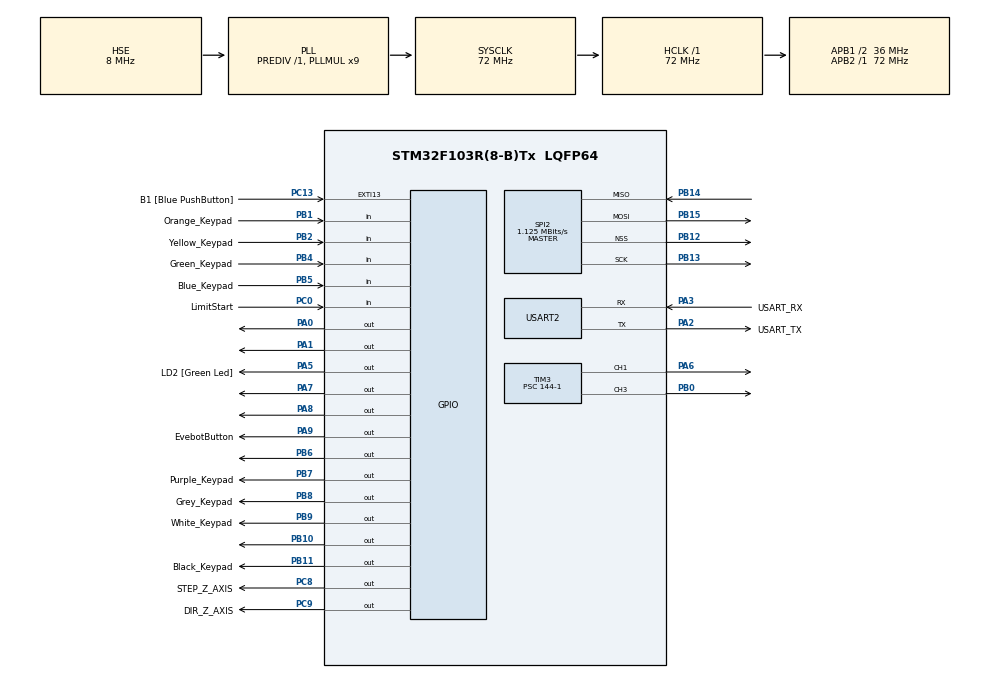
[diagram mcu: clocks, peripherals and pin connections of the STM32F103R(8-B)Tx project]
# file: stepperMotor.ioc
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Mcu.Family=STM32F1
Mcu.Name=STM32F103R(8-B)Tx
Mcu.Package=LQFP64
NVIC.EXTI15_10_IRQn=true\:0\:0\:false\:false\:true\:true\:true\:true
NVIC.PriorityGroup=NVIC_PRIORITYGROUP_4
NVIC.SPI2_IRQn=true\:0\:0\:false\:false\:true\:true\:true\:true
PA0-WKUP.Signal=GPIO_Output
PA1.Signal=GPIO_Output
PA13.GPIO_Label=TMS
PA13.Mode=Trace_Asynchronous_SW
PA13.Signal=SYS_JTMS-SWDIO
PA14.GPIO_Label=TCK
PA14.Mode=Trace_Asynchronous_SW
PA14.Signal=SYS_JTCK-SWCLK
PA2.GPIO_Label=USART_TX
PA2.GPIO_Mode=GPIO_MODE_AF_PP
PA2.GPIO_PuPd=GPIO_NOPULL
PA2.GPIO_Speed=GPIO_SPEED_FREQ_LOW
PA2.Mode=Asynchronous
PA2.Signal=USART2_TX
PA3.GPIO_Label=USART_RX
PA3.GPIO_Mode=GPIO_MODE_AF_PP
PA3.GPIO_PuPd=GPIO_NOPULL
PA3.GPIO_Speed=GPIO_SPEED_FREQ_LOW
PA3.Mode=Asynchronous
PA3.Signal=USART2_RX
PA5.GPIO_Label=LD2 [Green Led]
PA5.GPIO_ModeDefaultOutputPP=GPIO_MODE_OUTPUT_PP
PA5.GPIO_PuPd=GPIO_NOPULL
PA5.GPIO_Speed=GPIO_SPEED_FREQ_LOW
PA5.Signal=GPIO_Output
PA6.Signal=S_TIM3_CH1
PA7.Signal=GPIO_Output
PA8.Signal=GPIO_Output
PA9.GPIO_Label=EvebotButton
PA9.Signal=GPIO_Output
PB0.Signal=S_TIM3_CH3
PB1.GPIO_Label=Orange_Keypad
PB1.GPIO_PuPd=GPIO_PULLUP
PB1.Signal=GPIO_Input
PB10.Signal=GPIO_Output
PB11.GPIO_Label=Black_Keypad
PB11.Signal=GPIO_Output
PB12.Mode=NSS_Signal_Hard_Output
PB12.Signal=SPI2_NSS
PB13.Mode=Full_Duplex_Master
PB13.Signal=SPI2_SCK
PB14.Mode=Full_Duplex_Master
PB14.Signal=SPI2_MISO
PB15.Mode=Full_Duplex_Master
PB15.Signal=SPI2_MOSI
PB2.GPIO_Label=Yellow_Keypad
PB2.GPIO_PuPd=GPIO_PULLUP
PB2.Signal=GPIO_Input
PB3.GPIO_Label=SWO
PB3.Mode=Trace_Asynchronous_SW
PB3.Signal=SYS_JTDO-TRACESWO
PB4.GPIO_Label=Green_Keypad
PB4.GPIO_PuPd=GPIO_PULLUP
PB4.Signal=GPIO_Input
PB5.GPIO_Label=Blue_Keypad
PB5.GPIO_PuPd=GPIO_PULLUP
PB5.Signal=GPIO_Input
PB6.Signal=GPIO_Output
PB7.GPIO_Label=Purple_Keypad
PB7.Signal=GPIO_Output
PB8.GPIO_Label=Grey_Keypad
PB8.Signal=GPIO_Output
PB9.GPIO_Label=White_Keypad
PB9.Signal=GPIO_Output
PC0.GPIO_Label=LimitStart
PC0.Signal=GPIO_Input
PC13-TAMPER-RTC.GPIO_Label=B1 [Blue PushButton]
PC13-TAMPER-RTC.GPIO_PuPd=GPIO_NOPULL
PC13-TAMPER-RTC.Signal=GPXTI13
PC14-OSC32_IN.Signal=RCC_OSC32_IN
PC15-OSC32_OUT.Signal=RCC_OSC32_OUT
PC8.GPIO_Label=STEP_Z_AXIS
PC8.Signal=GPIO_Output
PC9.GPIO_Label=DIR_Z_AXIS
PC9.Signal=GPIO_Output
PD0-OSC_IN.Mode=HSE-External-Oscillator
PD0-OSC_IN.Signal=RCC_OSC_IN
PD1-OSC_OUT.Mode=HSE-External-Oscillator
PD1-OSC_OUT.Signal=RCC_OSC_OUT
ProjectManager.HeapSize=0x200
ProjectManager.StackSize=0x400
ProjectManager.TargetToolchain=STM32CubeIDE
RCC.AHBFreq_Value=72000000
RCC.APB1CLKDivider=RCC_HCLK_DIV2
RCC.APB1Freq_Value=36000000
RCC.APB1TimFreq_Value=72000000
RCC.APB2Freq_Value=72000000
RCC.APB2TimFreq_Value=72000000
RCC.HCLKFreq_Value=72000000
RCC.PLLMUL=RCC_PLL_MUL9
RCC.PLLSourceVirtual=RCC_PLLSOURCE_HSE
RCC.RTCClockSelection=RCC_RTCCLKSOURCE_LSE
RCC.SYSCLKFreq_VALUE=72000000
RCC.SYSCLKSource=RCC_SYSCLKSOURCE_PLLCLK
RCC.USBFreq_Value=72000000
SH.S_TIM3_CH1.0=TIM3_CH1,PWM Generation1 CH1
SH.S_TIM3_CH3.0=TIM3_CH3,PWM Generation3 CH3
SPI2.BaudRatePrescaler=SPI_BAUDRATEPRESCALER_32
SPI2.CLKPhase=SPI_PHASE_2EDGE
SPI2.CLKPolarity=SPI_POLARITY_HIGH
SPI2.CalculateBaudRate=1.125 MBits/s
SPI2.Direction=SPI_DIRECTION_2LINES
SPI2.Mode=SPI_MODE_MASTER
SPI2.VirtualNSS=VM_NSSHARD
SPI2.VirtualType=VM_MASTER
TIM1.Period=3599
TIM1.Prescaler=71
TIM3.Channel-PWM\ Generation1\ CH1=TIM_CHANNEL_1
TIM3.Channel-PWM\ Generation3\ CH3=TIM_CHANNEL_3
TIM3.OC1Preload_PWM=DISABLE
TIM3.Period=10000-1
TIM3.Prescaler=144-1
TIM3.Pulse-PWM\ Generation1\ CH1=900
USART2.VirtualMode=VM_ASYNC
VP_TIM1_VS_ClockSourceINT.Mode=Internal
VP_TIM3_VS_ClockSourceINT.Mode=Internal
board=NUCLEO-F103RB

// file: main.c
/* USER CODE BEGIN Header */
/**
  ******************************************************************************
  * @file           : main.c
  * @brief          : Main program body
  ******************************************************************************
  * @attention
  *
  * Copyright (c) 2024 STMicroelectronics.
  * All rights reserved.
  *
  * This software is licensed under terms that can be found in the LICENSE file
  * in the root directory of this software component.
  * If no LICENSE file comes with this software, it is provided AS-IS.
  *
  ******************************************************************************
  */
/* USER CODE END Header */
#include "main.h"

/* USER CODE BEGIN Includes */
#include <stdbool.h>
#include <stdio.h>
#include <stdlib.h>

//Keypad
#define BLINK_DELAY 500 // Delay in milliseconds
#define DEBOUNCE_DELAY 200 // Debounce delay in milliseconds

//printhead
#define PRINTHEAD_DIR_PIN GPIO_PIN_1
#define PRINTHEAD_DIR_PORT GPIOA
#define PRINTHEAD_STEP_PIN GPIO_PIN_0
#define PRINTHEAD_STEP_PORT GPIOA

// Pins for conveyor belt stepper motor, Direction pin PB10. Step pin PA8
#define STEP_PIN_CONVEYOR GPIO_PIN_8
#define STEP_PIN_Z_AXIS GPIO_PIN_2
#define DIR_PIN_Z_AXIS GPIO_PIN_12
#define DIR_PIN_CONVEYOR GPIO_PIN_10
#define STEP_PORT_CONVEYOR GPIOA
#define DIR_PORT_CONVEYOR GPIOB

#define TURN180 200
#define TURN360 400
#define TOTALDIST 34.5
#define INIDIST 10
#define OBJ1 1
#define OBJ2 2
/**
 * Lines
 */
//#define PRINT_LINE 135
//#define PRINT_LINE 130
//#define EVENT_HORIZON 133
#define PRINT_LINE 200
//#define EVENT_HORIZON 133
#define EVENT_HORIZON 170
#define ROW_LINE 80
#define EXCESS_LINE 30
#define PIXY_RATIO 1.5
#define DATUM 20
int PRINTSIZE = 43;
#define CONVEYER_MOVEMENT_MULTIPLER 0.74
#define RETRACT_PEN_UP 200
#define EXTEND_PEN_DOWN 336
/* USER CODE END Includes */

/* USER CODE BEGIN PTD */
typedef enum __pixyChecksumstate{
	PIXY_RESULT_OK = 1,
	PIXY_RESULT_ERROR = 0
}PixyChecksumState;

typedef struct __pastryData{
	//centrepoint of pastry coordinates
	uint16_t coordX; //8-9  response bits
	uint16_t coordY; //10-11 response bits
	//dimensions
	uint16_t height;
	uint16_t width;
	//bottom line
	uint16_t bottomY;
	//top line
	uint16_t topY;
} PastryData;

typedef struct __row{
	uint16_t coordRow_Y;
	uint16_t numberOfRowObjects;
	uint16_t coordXArray[10];
	uint16_t centreLine;
}Row;

typedef enum {
	PRINT_INIT,
	PRINT_DELAY1,
	PRINT_DELAY2,
	PRINT_PAUSE,
	PRINT_RESTART,
	PRINT_DONE
} PrintState;

PrintState printState = PRINT_INIT;
uint32_t expiryTick = 0;

typedef enum{
  TOGGLED_OFF = 0,
  TOGGLED_ON = 1,
  UNKNOWN = 2
}ComponentState;

typedef struct{
  ComponentState state;
}LimitSwitch;

typedef enum __programState{
	programON = 0,
	programOFF = 1,
	adjustHeightUpwards = 2,
	adjustHeightDownwards = 3
}ProgramState;

typedef enum __heightAdjustmentStatus{
	upwards_set = 0,
	no_set = 1,
	downwards_set = 2
}HeightAdjustmentState;

typedef struct __keyPadInformation{
	char theKey;
	uint32_t previousTick;
	uint32_t lastDebounceTime; // Last debounce time
	HeightAdjustmentState adjustmentState;
	ProgramState programState;
	bool listeningForBreadWidth;
}KeyPadInfo;

LimitSwitch startSwitch = {
  .state = TOGGLED_OFF
};
/**
 *	@desc Variables related to key pad and key press routine
 */
KeyPadInfo keypad = {
	.theKey = 'L',
	.adjustmentState = no_set,
	.programState = programOFF,
	.lastDebounceTime = 0,
	.previousTick = 0,
	.listeningForBreadWidth = false
};

/* USER CODE END PTD */

/* USER CODE BEGIN PD */
#define SPI_BUFFER_SIZE 300
/* USER CODE END PD */

SPI_HandleTypeDef hspi2;

TIM_HandleTypeDef htim1;
TIM_HandleTypeDef htim3;

UART_HandleTypeDef huart2;

/* USER CODE BEGIN PV */
uint8_t spiRxBuffer[SPI_BUFFER_SIZE];
uint8_t spiTxBuffer[SPI_BUFFER_SIZE];

uint8_t getVersion[] = {
  0xae,
  0xc1,
  0x0e,
  0x00,
};

uint8_t getBlocks[] = {
  0xae, //175
  0xc1, //193
  0x20, //type of packet - getBlocks Request 32 dec 0x20 Hex
  0x02, // payload (below length) 0x02
  0xFF, // get all signatures recognised
  0x06 // number of blocks x4
};

uint8_t setLamp[] = {
  0xae, //175
  0xc1, //193
  0x16,
  0x02,
  0x01
};
char inputBuffer[10];
int bufferIndex = 0;
int stepDelay = 700; // SPEED, 1000us more delay means less speed
/**
 *	@desc For debugging: Tracks the checksum of the incoming response packet.
 */
PixyChecksumState checkSumStatus;
/**
 *	@desc Number of pastries detected
 */
uint8_t numberOfBlocks;
/**
 *	@desc Y coordinate Row reference point for each row line
 */
uint16_t rowval = 0;

Row row; // number of rows

uint8_t* responsePacketStart;  // start of actual data packet within buffer

PastryData pastry[6]; //max no of objects

/* USER CODE END PV */

void SystemClock_Config(void);
static void MX_GPIO_Init(void);
static void MX_USART2_UART_Init(void);
static void MX_TIM1_Init(void);
static void MX_SPI2_Init(void);
static void MX_TIM3_Init(void);
/*
 * @desc
 *	Checksum calculator to verify that data is reliable to use
 * @returns
 * 	PIXY_RESULT_OK - if data is reliable
 * 	PIXY_RESULT_ERROR - Do not use this data in the SPI Buffer
 */
PixyChecksumState checkSumCalculator(uint8_t* array);
/* USER CODE END PFP */

int main(void)
{

  /* MCU Configuration--------------------------------------------------------*/

  /* Reset of all peripherals, Initializes the Flash interface and the Systick. */
  HAL_Init();

  /* Configure the system clock */
  SystemClock_Config();

  /* Initialize all configured peripherals */
  MX_GPIO_Init();
  MX_USART2_UART_Init();
  MX_TIM1_Init();
  MX_SPI2_Init();
  MX_TIM3_Init();
  /* USER CODE BEGIN 2 */

	HAL_GPIO_WritePin(DIR_PORT_CONVEYOR, DIR_PIN_CONVEYOR, GPIO_PIN_SET);
	HAL_GPIO_WritePin(PRINTHEAD_DIR_PORT, PRINTHEAD_DIR_PIN, GPIO_PIN_SET);
	HAL_GPIO_WritePin(GPIOC, DIR_Z_AXIS_Pin, GPIO_PIN_SET);
	HAL_TIM_PWM_Start(&htim3, TIM_CHANNEL_3);
	HAL_TIM_Base_Start(&htim1);
	HAL_Delay(10);
//	HAL_SPI_Transmit(&hspi2, setLamp, 5, 100);

  /* USER CODE END 2 */

  /* Infinite loop */
  /* USER CODE BEGIN WHILE */
  while (1)
  {
	/**
	 *Operation starts here
	 */
	  keyPadScanRoutine();
	  //user has to hold '#' when there are no objects to stop the entire program
	  if(programState == programON){
		  normalOperationTestCase();
	  }else{
		  if(programState == adjustHeightUpwards){
			  moveZAxisUp();
		  }
		  if(programState == adjustHeightDownwards){
			  moveZAxisDown();
		  }
	  }
//	  normalOperationTestCase();

	/**
	 * Operation END
	 * */
	  /*
	   * Test cases to be operated to check system functionality is OK
	   */
//	  	  testCaseHomeMovement(100);
//	  	  xAxisMovement(40);
//	  	  testCasePressEveBot();
//	  	  testCaseZAxis(40);
//	  	  testCaseConveyerMovement();
//	  	  keyPadScanRoutine();

    /* USER CODE END WHILE */

  }
}

void SystemClock_Config(void)
{
  RCC_OscInitTypeDef RCC_OscInitStruct = {0};
  RCC_ClkInitTypeDef RCC_ClkInitStruct = {0};

  /** Initializes the RCC Oscillators according to the specified parameters
  * in the RCC_OscInitTypeDef structure.
  */
  RCC_OscInitStruct.OscillatorType = RCC_OSCILLATORTYPE_HSE;
  RCC_OscInitStruct.HSEState = RCC_HSE_ON;
  RCC_OscInitStruct.HSEPredivValue = RCC_HSE_PREDIV_DIV1;
  RCC_OscInitStruct.HSIState = RCC_HSI_ON;
  RCC_OscInitStruct.PLL.PLLState = RCC_PLL_ON;
  RCC_OscInitStruct.PLL.PLLSource = RCC_PLLSOURCE_HSE;
  RCC_OscInitStruct.PLL.PLLMUL = RCC_PLL_MUL9;
  if (HAL_RCC_OscConfig(&RCC_OscInitStruct) != HAL_OK)
  {
    Error_Handler();
  }

  /** Initializes the CPU, AHB and APB buses clocks
  */
  RCC_ClkInitStruct.ClockType = RCC_CLOCKTYPE_HCLK|RCC_CLOCKTYPE_SYSCLK
                              |RCC_CLOCKTYPE_PCLK1|RCC_CLOCKTYPE_PCLK2;
  RCC_ClkInitStruct.SYSCLKSource = RCC_SYSCLKSOURCE_PLLCLK;
  RCC_ClkInitStruct.AHBCLKDivider = RCC_SYSCLK_DIV1;
  RCC_ClkInitStruct.APB1CLKDivider = RCC_HCLK_DIV2;
  RCC_ClkInitStruct.APB2CLKDivider = RCC_HCLK_DIV1;

  if (HAL_RCC_ClockConfig(&RCC_ClkInitStruct, FLASH_LATENCY_2) != HAL_OK)
  {
    Error_Handler();
  }
}

static void MX_SPI2_Init(void)
{

  /* SPI2 parameter configuration*/
  hspi2.Instance = SPI2;
  hspi2.Init.Mode = SPI_MODE_MASTER;
  hspi2.Init.Direction = SPI_DIRECTION_2LINES;
  hspi2.Init.DataSize = SPI_DATASIZE_8BIT;
  hspi2.Init.CLKPolarity = SPI_POLARITY_HIGH;
  hspi2.Init.CLKPhase = SPI_PHASE_2EDGE;
  hspi2.Init.NSS = SPI_NSS_HARD_OUTPUT;
  hspi2.Init.BaudRatePrescaler = SPI_BAUDRATEPRESCALER_32;
  hspi2.Init.FirstBit = SPI_FIRSTBIT_MSB;
  hspi2.Init.TIMode = SPI_TIMODE_DISABLE;
  hspi2.Init.CRCCalculation = SPI_CRCCALCULATION_DISABLE;
  hspi2.Init.CRCPolynomial = 10;
  if (HAL_SPI_Init(&hspi2) != HAL_OK)
  {
    Error_Handler();
  }

}

static void MX_TIM1_Init(void)
{

  TIM_ClockConfigTypeDef sClockSourceConfig = {0};
  TIM_MasterConfigTypeDef sMasterConfig = {0};

  htim1.Instance = TIM1;
  htim1.Init.Prescaler = 71;
  htim1.Init.CounterMode = TIM_COUNTERMODE_UP;
  htim1.Init.Period = 3599;
  htim1.Init.ClockDivision = TIM_CLOCKDIVISION_DIV1;
  htim1.Init.RepetitionCounter = 0;
  htim1.Init.AutoReloadPreload = TIM_AUTORELOAD_PRELOAD_DISABLE;
  if (HAL_TIM_Base_Init(&htim1) != HAL_OK)
  {
    Error_Handler();
  }
  sClockSourceConfig.ClockSource = TIM_CLOCKSOURCE_INTERNAL;
  if (HAL_TIM_ConfigClockSource(&htim1, &sClockSourceConfig) != HAL_OK)
  {
    Error_Handler();
  }
  sMasterConfig.MasterOutputTrigger = TIM_TRGO_RESET;
  sMasterConfig.MasterSlaveMode = TIM_MASTERSLAVEMODE_DISABLE;
  if (HAL_TIMEx_MasterConfigSynchronization(&htim1, &sMasterConfig) != HAL_OK)
  {
    Error_Handler();
  }

}

static void MX_TIM3_Init(void)
{

  TIM_ClockConfigTypeDef sClockSourceConfig = {0};
  TIM_MasterConfigTypeDef sMasterConfig = {0};
  TIM_OC_InitTypeDef sConfigOC = {0};

  htim3.Instance = TIM3;
  htim3.Init.Prescaler = 144-1;
  htim3.Init.CounterMode = TIM_COUNTERMODE_UP;
  htim3.Init.Period = 10000-1;
  htim3.Init.ClockDivision = TIM_CLOCKDIVISION_DIV1;
  htim3.Init.AutoReloadPreload = TIM_AUTORELOAD_PRELOAD_DISABLE;
  if (HAL_TIM_Base_Init(&htim3) != HAL_OK)
  {
    Error_Handler();
  }
  sClockSourceConfig.ClockSource = TIM_CLOCKSOURCE_INTERNAL;
  if (HAL_TIM_ConfigClockSource(&htim3, &sClockSourceConfig) != HAL_OK)
  {
    Error_Handler();
  }
  if (HAL_TIM_PWM_Init(&htim3) != HAL_OK)
  {
    Error_Handler();
  }
  sMasterConfig.MasterOutputTrigger = TIM_TRGO_RESET;
  sMasterConfig.MasterSlaveMode = TIM_MASTERSLAVEMODE_DISABLE;
  if (HAL_TIMEx_MasterConfigSynchronization(&htim3, &sMasterConfig) != HAL_OK)
  {
    Error_Handler();
  }
  sConfigOC.OCMode = TIM_OCMODE_PWM1;
  sConfigOC.Pulse = 900;
  sConfigOC.OCPolarity = TIM_OCPOLARITY_HIGH;
  sConfigOC.OCFastMode = TIM_OCFAST_DISABLE;
  if (HAL_TIM_PWM_ConfigChannel(&htim3, &sConfigOC, TIM_CHANNEL_1) != HAL_OK)
  {
    Error_Handler();
  }
  __HAL_TIM_DISABLE_OCxPRELOAD(&htim3, TIM_CHANNEL_1);
  sConfigOC.Pulse = 0;
  if (HAL_TIM_PWM_ConfigChannel(&htim3, &sConfigOC, TIM_CHANNEL_3) != HAL_OK)
  {
    Error_Handler();
  }
  HAL_TIM_MspPostInit(&htim3);

}

static void MX_USART2_UART_Init(void)
{

  huart2.Instance = USART2;
  huart2.Init.BaudRate = 115200;
  huart2.Init.WordLength = UART_WORDLENGTH_8B;
  huart2.Init.StopBits = UART_STOPBITS_1;
  huart2.Init.Parity = UART_PARITY_NONE;
  huart2.Init.Mode = UART_MODE_TX_RX;
  huart2.Init.HwFlowCtl = UART_HWCONTROL_NONE;
  huart2.Init.OverSampling = UART_OVERSAMPLING_16;
  if (HAL_UART_Init(&huart2) != HAL_OK)
  {
    Error_Handler();
  }

}

static void MX_GPIO_Init(void)
{
  GPIO_InitTypeDef GPIO_InitStruct = {0};

  /* GPIO Ports Clock Enable */
  __HAL_RCC_GPIOC_CLK_ENABLE();
  __HAL_RCC_GPIOD_CLK_ENABLE();
  __HAL_RCC_GPIOA_CLK_ENABLE();
  __HAL_RCC_GPIOB_CLK_ENABLE();

  /*Configure GPIO pin Output Level */
  HAL_GPIO_WritePin(GPIOA, GPIO_PIN_0|GPIO_PIN_1|LD2_Pin|GPIO_PIN_7
                          |GPIO_PIN_8|EvebotButton_Pin, GPIO_PIN_RESET);

  /*Configure GPIO pin Output Level */
  HAL_GPIO_WritePin(GPIOB, GPIO_PIN_10|Black_Keypad_Pin|GPIO_PIN_6|Purple_Keypad_Pin
                          |Grey_Keypad_Pin|White_Keypad_Pin, GPIO_PIN_RESET);

  /*Configure GPIO pin Output Level */
  HAL_GPIO_WritePin(GPIOC, STEP_Z_AXIS_Pin|DIR_Z_AXIS_Pin, GPIO_PIN_RESET);

  /*Configure GPIO pin : B1_Pin */
  GPIO_InitStruct.Pin = B1_Pin;
  GPIO_InitStruct.Mode = GPIO_MODE_IT_RISING;
  GPIO_InitStruct.Pull = GPIO_NOPULL;
  HAL_GPIO_Init(B1_GPIO_Port, &GPIO_InitStruct);

  /*Configure GPIO pin : LimitStart_Pin */
  GPIO_InitStruct.Pin = LimitStart_Pin;
  GPIO_InitStruct.Mode = GPIO_MODE_INPUT;
  GPIO_InitStruct.Pull = GPIO_NOPULL;
  HAL_GPIO_Init(LimitStart_GPIO_Port, &GPIO_InitStruct);

  /*Configure GPIO pins : PA0 PA1 LD2_Pin PA7
                           PA8 EvebotButton_Pin */
  GPIO_InitStruct.Pin = GPIO_PIN_0|GPIO_PIN_1|LD2_Pin|GPIO_PIN_7
                          |GPIO_PIN_8|EvebotButton_Pin;
  GPIO_InitStruct.Mode = GPIO_MODE_OUTPUT_PP;
  GPIO_InitStruct.Pull = GPIO_NOPULL;
  GPIO_InitStruct.Speed = GPIO_SPEED_FREQ_LOW;
  HAL_GPIO_Init(GPIOA, &GPIO_InitStruct);

  /*Configure GPIO pins : Orange_Keypad_Pin Yellow_Keypad_Pin Green_Keypad_Pin Blue_Keypad_Pin */
  GPIO_InitStruct.Pin = Orange_Keypad_Pin|Yellow_Keypad_Pin|Green_Keypad_Pin|Blue_Keypad_Pin;
  GPIO_InitStruct.Mode = GPIO_MODE_INPUT;
  GPIO_InitStruct.Pull = GPIO_PULLUP;
  HAL_GPIO_Init(GPIOB, &GPIO_InitStruct);

  /*Configure GPIO pins : PB10 Black_Keypad_Pin PB6 Purple_Keypad_Pin
                           Grey_Keypad_Pin White_Keypad_Pin */
  GPIO_InitStruct.Pin = GPIO_PIN_10|Black_Keypad_Pin|GPIO_PIN_6|Purple_Keypad_Pin
                          |Grey_Keypad_Pin|White_Keypad_Pin;
  GPIO_InitStruct.Mode = GPIO_MODE_OUTPUT_PP;
  GPIO_InitStruct.Pull = GPIO_NOPULL;
  GPIO_InitStruct.Speed = GPIO_SPEED_FREQ_LOW;
  HAL_GPIO_Init(GPIOB, &GPIO_InitStruct);

  /*Configure GPIO pins : STEP_Z_AXIS_Pin DIR_Z_AXIS_Pin */
  GPIO_InitStruct.Pin = STEP_Z_AXIS_Pin|DIR_Z_AXIS_Pin;
  GPIO_InitStruct.Mode = GPIO_MODE_OUTPUT_PP;
  GPIO_InitStruct.Pull = GPIO_NOPULL;
  GPIO_InitStruct.Speed = GPIO_SPEED_FREQ_LOW;
  HAL_GPIO_Init(GPIOC, &GPIO_InitStruct);

  /* EXTI interrupt init*/
  HAL_NVIC_SetPriority(EXTI15_10_IRQn, 0, 0);
  HAL_NVIC_EnableIRQ(EXTI15_10_IRQn);

}

/* USER CODE BEGIN 4 */
void HAL_GPIO_EXTI_Callback(uint16_t GPIO_Pin) {
	/*
	 * @desc
	 * Limit switch checking is done iteratively in the backToHomeDatum()
	 */
}

/*
 * @desc
 * Generates microsecond delay that otherwise not possible with HAL_Delay()
 * @param delay
 *
 */
void microDelay (uint16_t delay)
{
	__HAL_TIM_SET_COUNTER(&htim1, 0);
	while (__HAL_TIM_GET_COUNTER(&htim1) < delay);
}
/*
 * @desc
 * Converts the distance in mm to steps required for stepper to take
 * The "steps" are looping values to be iterated UNTIL.
 * @param distance in mm
 */
int distCal(int distance)//in mm
{
	//1 revolution - 200 steps of ON AND OFF pulses
	//In our case, 400 loops of ON AND OFF pulses separately/alternating, to mimic "200 steps of ON AND OFF pulses"
	int value = distance * 400/40;
	return value;
}
/*
 * @desc
 * Function is called after evebot button is pressed
 * The function is called to cover the distance gap that is marked on the evebot ruler before
 * the start of distance measurement at START on the ruler.
 *
 * The Printhead moves by 5mm forward +ve X axis, before retracting 5mm backwards -ve X axis.
 * Once back to the beginning of the printing position, movement() is called, with the PRINTIZE as the argument.
 */
void iniDelay(void)
{
	int x;
	int dist = distCal(INIDIST/2);
	int delay = 1000;
	for(x=0; x<dist; ++x)
	{
		HAL_GPIO_TogglePin(PRINTHEAD_STEP_PORT, PRINTHEAD_STEP_PIN);
		microDelay(delay);
	}
  	HAL_GPIO_TogglePin(PRINTHEAD_DIR_PORT, PRINTHEAD_DIR_PIN);
	for(x=0; x<dist; ++x)
	{
		HAL_GPIO_TogglePin(PRINTHEAD_STEP_PORT, PRINTHEAD_STEP_PIN);
		microDelay(delay);
	}
  	HAL_GPIO_TogglePin(PRINTHEAD_DIR_PORT, PRINTHEAD_DIR_PIN);
}
/*
 * @desc
 *	Checksum calculator to verify that data is reliable to use
 * @returns
 * 	PIXY_RESULT_OK - if data is reliable
 * 	PIXY_RESULT_ERROR - Do not use this data in the SPI Buffer
 */
PixyChecksumState checkSumCalculator(uint8_t* array)//calculate checksum of pixycam
{
	uint16_t size = array[3];
	size = size + 6;//including header bytes
	uint16_t checksum = array[5] << 8 | array[4];
	uint16_t cal_checksum = 0;
	for(int i = 6; i<size;i++)
	{
		cal_checksum+=array[i];
	}
	return checksum==cal_checksum?PIXY_RESULT_OK:PIXY_RESULT_ERROR;
}

/*
 * @desc
 *	SPI has both rubbish values and actual data
 *	Tries to find the starting position of the actual data in the SPI buffer
 * @returns
 * 	NULL - Actual data is not there
 * 	uint8_t* Points to the start of actual data
 */
uint8_t* tpixCheckStartCmd(uint8_t* spiRxBuffer) {
    for(int index = 0; index < SPI_BUFFER_SIZE; ++index){
        if (spiRxBuffer[index] == 0xAF && spiRxBuffer[index + 1] == 0xC1) {
        	responsePacketStart = &(spiRxBuffer[index]);
            return responsePacketStart;
        }
    }
//    printf("AF header byte not found in rx SPI buffer\r\n");
    return NULL;
}

/*
 * @desc
 *
 * 	1. Counts the number of pastries there are caught on camera
 *
 *	2. Deciphers the SPI Rx Buffer to get information of pastries that are in "pixy block signatures"
 *
 * @data
 *	Each Pastry object or "pixy block signatures has the following information"
 * 	//centrepoint of pastry coordinates
	1. coordX;
	2. coordY
	//dimensions
	1. height;
	2. width;
	//bottom line y axis location
	1. bottomY;
	//top line y axis location
	2. topY;
 *
 */
void retrieveGetBlocks(uint8_t* spiRxBuffer){
	uint8_t* responsePacketPtr = spiRxBuffer;
	if(responsePacketPtr != NULL){
		//retrieve
		numberOfBlocks = responsePacketPtr[3] / 14;
		int pasPosX = 8;
		int pasPosY = 10;

		for(int i = 0; i<numberOfBlocks; ++i, pasPosX+=14, pasPosY+=14)//loop for the no objects
		{
			pastry[i].coordX = responsePacketPtr[pasPosX+1] << 8 | responsePacketPtr[pasPosX];
			pastry[i].coordY = responsePacketPtr[pasPosY+1] << 8 | responsePacketPtr[pasPosY];
			pastry[i].width = responsePacketPtr[pasPosY+5] << 8 | responsePacketPtr[pasPosY+4];
			pastry[i].height = responsePacketPtr[pasPosX+7] << 8 | responsePacketPtr[pasPosX+6];
			pastry[i].bottomY = pastry[i].coordY + (pastry[i].height/2);
			pastry[i].topY = pastry[i].coordY - (pastry[i].height/2);
		}
	}else{
		//Do not use buffer if is literally empty
	}
}
/*
 *	@desc
 *	Manual Mode
 *	ROUTINE:
 *	1. (conveyerMovePastry) The conveyer moves the centre point of the lowest object (used as a row reference) to the PRINTLINE
 *
 *	2.  First datum point ??
 *		For each object within the row along x axis
 *		Travel to the (centrepoint - PRINTSIZE/2), i.e. printing point
 *		Press the evebot button (a human does this)
 *		move 5mm x2 back and forth to cover the gap where printing does not happen
 *		move according to PRINTSIZE to print
 *		Press the evebot button (a human does this)
 *		Set the new datum point to be after the (centrepoint+printlength/2) of the previous object
 *		Repeat
 *
 */
void printHeadMovementRoutine_Manual(){
	conveyerMovePastry();
    int offset = PRINTSIZE/2;
    int datum = DATUM+offset;

    for(int i = 0; i< row.numberOfRowObjects; i++)
    {
    	int dist = distCal((row.coordXArray[i]- datum) * PIXY_RATIO);
    	//travels to print location
    	xAxisMovement(dist);

        HAL_Delay(3000); // person presses the evebot button
        iniDelay(); // covers the print gap (distance gap where printing is not happening)
        xAxisMovement(PRINTSIZE); //prints along the PRINTSIZE width
        HAL_Delay(3000); // person presses the evebot button
        datum = row.coordXArray[i] + (PRINTSIZE-offset); // new datum point is set at the end of the bread width
        //print head now travels from the current datum point (at the end of the print length) to the next centre point of the object
    }
}
/*
 *	@desc
 *	Auto Mode
 *	ROUTINE:
 *	1. (conveyerMovePastry) The conveyer moves the centre point of the lowest object (used as a row reference) to the PRINTLINE
 *
 *	2.  First datum point ??
 *		For each object within the row along x axis
 *		Travel to the (centrepoint - PRINTSIZE/2), i.e. printing point
 *		Press the evebot button (Servo does this)
 *		move 5mm x2 back and forth to cover the gap where printing does not happen
 *		move according to PRINTSIZE to print
 *		Press the evebot button (Servo does this)
 *		Set the new datum point to be after the (centrepoint+printlength/2) of the previous object
 *		Repeat
 *
 */
void printHeadMovementRoutine_AUTO(){
	conveyerMovePastry();
    int offset = PRINTSIZE/2;
    int datum = DATUM+offset;

    for(int i = 0; i< row.numberOfRowObjects; i++)
    {
    	int dist = distCal((row.coordXArray[i]- datum) * PIXY_RATIO);
    	//travels to print location
    	xAxisMovement(dist);
        pressEveBot();
        HAL_Delay(100);
        iniDelay();
        HAL_Delay(100);
        xAxisMovement(PRINTSIZE);
        pressEveBot();
        HAL_Delay(100);
        datum = row.coordXArray[i] + (PRINTSIZE-offset);
    }
}
/*
 * @desc
 *	Moves the printhead according to the int z (distance in mm specified)
 * @params
 * int z is the distance in mm
 */
void xAxisMovement(int distance){
    int dist = distCal(distance);
    for(int x =0; x<dist;++x)
    {
		HAL_GPIO_TogglePin(PRINTHEAD_STEP_PORT, PRINTHEAD_STEP_PIN);
		microDelay(stepDelay);
    }
}
/*
 * @desc
 *	1. Find a reference point for a row object i.e. lowest centre point or lowest object
 *  2. Add all the pastries that falls within the buffer range of the reference point. i.e. y axis range from centrepoint
 *
 *  The new row will contain all the x_coords of pastries to be printed.
 */
int createRows()
{
	//find ROW
	rowval = 0;
//	uint16_t rowval = 0;
	for(int j = 0; j<numberOfBlocks; ++j)
	{
		//find the lowest centre point of an object within a "row" AND ONLY IF
		//The bottom width of the object is before the EVENT HORIZON
		//the lowest centre point of the object will be the main reference for a "row"
		if(pastry[j].coordY > rowval && pastry[j].bottomY<= EVENT_HORIZON)//checks for lowest legal point for row
		{
			rowval = pastry[j].coordY;
		}

	}
	//stores the distance from the lowest centre point of a row to the print line.
	row.coordRow_Y = PRINT_LINE - rowval;
	//Reset OBJECTS before creating a new row
	row.numberOfRowObjects = 0;
	for (int i = 0; i< 10; i++)
	{
		row.coordXArray[i] = 400;
	}
	//Calibrate Objects
	for(int i = 0; i< numberOfBlocks; ++i)//loop for the no objects
	{
		//since the lowest centrepoint is the reference for the row,
		//we account for objects within the gap
		//before the lowest centrepoint
		if(pastry[i].coordY >= (rowval - 10) && pastry[i].coordY <= rowval){
			row.coordXArray[i] = pastry[i].coordX;
			row.numberOfRowObjects++;
		}
	}
	//sorts the row objects, from the smallest (i.e. closest to the left to the rightmost) along the xAxis
	bubbleSort(row.coordXArray, 10);
	return row.numberOfRowObjects;
}
/*
 * @desc
 *	Helper Swap function for bubblesort
 */
void swap(uint16_t *xp, uint16_t *yp) {
    int temp = *xp;
    *xp = *yp;
    *yp = temp;
}
/*
 * @desc
 *	Sorts the objects in the PastryData[] array according to distance closest from
 *	the left (datum) to the rightmost along the x axis
 */
void bubbleSort(uint16_t arr[], int n) {
    int i, j;
    for (i = 0; i < n - 1; i++) {
        for (j = 0; j < n - i - 1; j++) {
            if (arr[j] > arr[j + 1]) {
                swap(&arr[j], &arr[j + 1]);
            }
        }
    }
}
/*
 * @desc
 * Sends pulses every few microsends to the conveyer stepper motor to turn
 */
void conveyerMovement(int z){
    int dist = distCal(z);
    int conveyerStepperDelay = 1900;
    //moves to set distance
    for(int x =0; x<dist;++x)
    {
		HAL_GPIO_TogglePin(STEP_PORT_CONVEYOR, STEP_PIN_CONVEYOR);
		microDelay(conveyerStepperDelay);
    }
}
/*
 * @desc
 *	Test case for x axis home movement
 * @params
 * distance (in mm) to test. Max is 250mm
 */
void testCaseHomeMovement(int z){
	if(z > 250){
		z = 250;
	}
	if(z < 0){
		z = 0;
	}
	xAxisMovement(z);
	backToHomePosition();
	while(1){

	}
}
/*
 * @desc
 *	Test case for pressing of evebot button (Whether successful button presses is achieved)
 */
void testCasePressEveBot(){
	  pressEveBot();
	  while(1){

	  }
}
/*
 * @desc
 *	Test case for conveyer movement to move 14 cm forward (towards the printhead)
 */
void testCaseConveyerMovement(){
	HAL_Delay(1000);
	conveyerMovement(140);
	while(1){

	}
}
/*
 * @desc
 *	Test case z axis based on mm height that programmer puts
 * @param
 * int z in mm height
 */
void testCaseZAxis(int z){
    int dist = distCal(z);
    int conveyerStepperDelay = 2000;
    HAL_GPIO_TogglePin(GPIOC, DIR_Z_AXIS_Pin);
    //moves to set distance
    for(int x =0; x<dist;++x)
    {
		HAL_GPIO_TogglePin(GPIOC, STEP_Z_AXIS_Pin);
		microDelay(conveyerStepperDelay);
    }
    while(1){

    }
}
/*
 * @desc
 *	Function will always be called in the main loop whenever the programState is set to
 *	1. adjustHeightUpwards
 *
 *	That assumes that the user presses once, this function runs until the user presses the button once again
 *
 */
void moveZAxisUp(){
    int conveyerStepperDelay = 2000;
    GPIO_PinState zAxisDirectionStatus = HAL_GPIO_ReadPin(GPIOC, DIR_Z_AXIS_Pin);
    if(zAxisDirectionStatus == GPIO_PIN_RESET){
    	HAL_GPIO_TogglePin(GPIOC, DIR_Z_AXIS_Pin);
    	HAL_Delay(1);
    }
	HAL_GPIO_TogglePin(GPIOC, STEP_Z_AXIS_Pin);
	microDelay(conveyerStepperDelay);
}
/*
 * @desc
 *	Function will always be called in the main loop whenever the programState is set to
 *	1. adjustHeightDownwards
 *
 *
 *That assumes that the user presses once, this function runs until the user presses the button once again
 */
void moveZAxisDown(){
    int conveyerStepperDelay = 2000;
    GPIO_PinState zAxisDirectionStatus = HAL_GPIO_ReadPin(GPIOC, DIR_Z_AXIS_Pin);
    if(zAxisDirectionStatus == GPIO_PIN_SET){
    	HAL_GPIO_TogglePin(GPIOC, DIR_Z_AXIS_Pin);
    	HAL_Delay(1);
    }
	HAL_GPIO_TogglePin(GPIOC, STEP_Z_AXIS_Pin);
	microDelay(conveyerStepperDelay);
}
/*
 * @desc
 *	Moves the printhead back towards the leftmost/HOME position
 *	until the printhead hits the limit switch
 *
 */
void backToHomePosition() {
  HAL_GPIO_WritePin(PRINTHEAD_DIR_PORT, PRINTHEAD_DIR_PIN, GPIO_PIN_RESET);
  while(1){
	  GPIO_PinState limitState = HAL_GPIO_ReadPin(LimitStart_GPIO_Port, LimitStart_Pin);
	  if(limitState == GPIO_PIN_RESET){
		  break;
	  }else{
		  HAL_GPIO_TogglePin(PRINTHEAD_STEP_PORT, PRINTHEAD_STEP_PIN);
		  microDelay(stepDelay);
	  }
  }
  HAL_GPIO_WritePin(PRINTHEAD_DIR_PORT, PRINTHEAD_DIR_PIN, GPIO_PIN_SET);
}
/*
 * @desc
 	 Uses TIM3 to generate PWM and turn the servo for EveBot button pressing
 *
 */
void pressEveBot(void){
	//higher the value - anticlockwise - i.e. goes down further
	//lower the value - clockwise (capped 200) - i.e. goes up further
  __HAL_TIM_SET_COMPARE(&htim3, TIM_CHANNEL_3, RETRACT_PEN_UP);
  HAL_Delay(500);
  __HAL_TIM_SET_COMPARE(&htim3, TIM_CHANNEL_3, EXTEND_PEN_DOWN);
  HAL_Delay(500);
  __HAL_TIM_SET_COMPARE(&htim3, TIM_CHANNEL_3, RETRACT_PEN_UP);
  HAL_Delay(500);

}

/*
 *
 * @desc
 * The Function "snapsshots" - essentially it is retrieving the positions of the
 * pastries on the conveyer belt before the movement and printing routine starts.
 */
void normalOperationTestCase(){
	    HAL_SPI_Transmit(&hspi2, getBlocks, 6, 100);
	    HAL_Delay(100);
		HAL_SPI_Receive(&hspi2, spiRxBuffer, SPI_BUFFER_SIZE, 100);
		uint8_t* startingResponsePtr = tpixCheckStartCmd(spiRxBuffer);
		if(startingResponsePtr == NULL){

		}else{
			checkSumStatus = checkSumCalculator(startingResponsePtr);
			if(checkSumStatus == PIXY_RESULT_OK){
				retrieveGetBlocks(startingResponsePtr);
				int pastryCount = createRows();
				if(pastryCount > 0){
//					printHeadMovementRoutine_Manual();
					printHeadMovementRoutine_AUTO();
					backToHomePosition();
					//let color signature set in
					HAL_Delay(300);
				}
			}else if(checkSumStatus == PIXY_RESULT_ERROR){
				//do nothing
			}
		}

}
/*
 * @desc
 *	Moves the lowest centrepoint object among all objects along the row towards the printline
 *
 */
void conveyerMovePastry(){
	int distanceToTravel = row.coordRow_Y * PIXY_RATIO;
	conveyerMovement(distanceToTravel);

}

/*
 * @desc
 * @return
 * Returns the key pressed among the keys found on the keypad
 *
 */
char Keypad_Scan(void)
{
    uint16_t row_pins[4] = {GPIO_PIN_1, GPIO_PIN_2, GPIO_PIN_4, GPIO_PIN_5};
    uint16_t col_pins[4] = {GPIO_PIN_7, GPIO_PIN_8, GPIO_PIN_9, GPIO_PIN_11};
    const char keys[4][4] = {
        {'1', '2', '3', 'A'},
        {'4', '5', '6', 'B'},
        {'7', '8', '9', 'C'},
        {'*', '0', '#', 'D'}
    };

    // Set all row pins to HIGH initially
    for (int i = 0; i < 4; i++) {
        HAL_GPIO_WritePin(GPIOB, row_pins[i], GPIO_PIN_SET);
    }

    for (int col = 0; col < 4; col++) {
        // Set the current column pin to LOW
        HAL_GPIO_WritePin(GPIOB, col_pins[col], GPIO_PIN_RESET);

        for (int row = 0; row < 4; row++) {
            // Check if the row pin is LOW (key pressed)
            if (HAL_GPIO_ReadPin(GPIOB, row_pins[row]) == GPIO_PIN_RESET) {
                // Wait for key release
                while (HAL_GPIO_ReadPin(GPIOB, row_pins[row]) == GPIO_PIN_RESET);

                // Set the current column pin back to HIGH
                HAL_GPIO_WritePin(GPIOB, col_pins[col], GPIO_PIN_SET);

                return keys[row][col];
            }
        }

        // Set the current column pin back to HIGH
        HAL_GPIO_WritePin(GPIOB, col_pins[col], GPIO_PIN_SET);
    }

    return 'L'; // No key pressed
}
/*
 * @desc
 * Main control program - Dictates whether the program is
 * 1. adjusting the print size,
 * 2. adjusting the height of current print head i.e. z axis
 * 3. main program execution
 *
 */
void keyPadScanRoutine(){
    char key = Keypad_Scan();
    uint32_t currentTick = HAL_GetTick();

    if (key != 'L' && (currentTick - lastDebounceTime) > DEBOUNCE_DELAY) // Key was pressed and debounce delay passed
    {
    	theKey = key;
        lastDebounceTime = currentTick; // Update debounce time

        if (key == 'A' && programState != programON)
        {
            listeningForBreadWidth = true;
            bufferIndex = 0;
            memset(inputBuffer, 0, sizeof(inputBuffer));
        }
        else if (key == 'B' && listeningForBreadWidth)
        {
        	PRINTSIZE = atoi(inputBuffer);
            listeningForBreadWidth = false;
        }
        else if (key == 'C')
        {
        	if(adjustmentState == upwards_set){
        		programState = programOFF;
        		adjustmentState = no_set;
        	}else if(adjustmentState == no_set || programState == adjustHeightDownwards){
        		adjustmentState = upwards_set;
        		programState = adjustHeightUpwards;
        	}
        }
        else if (key == 'D')
        {
        	if(adjustmentState == downwards_set){
        		programState = programOFF;
        		adjustmentState = no_set;
        	}else if(adjustmentState == no_set || programState == adjustHeightUpwards){
        		adjustmentState = downwards_set;
        		programState = adjustHeightDownwards;
        	}
        }
        else if (key == '*' && !listeningForBreadWidth)
        {
            programState = programON;
        }else if(key == '#' && !listeningForBreadWidth){
        	programState = programOFF;
        }
        else if (listeningForBreadWidth && key >= '0' && key <= '9')
        {
            if (bufferIndex < sizeof(inputBuffer) - 1)
            {
                inputBuffer[bufferIndex++] = key;
            }
        }
    }

    // Non-blocking delay for any other necessary operations
    if (HAL_GetTick() - previousTick >= BLINK_DELAY)
    {
        previousTick = HAL_GetTick();
    }
}
/* USER CODE END 4 */

void Error_Handler(void)
{
  __disable_irq();
  while (1)
  {
  }
}
